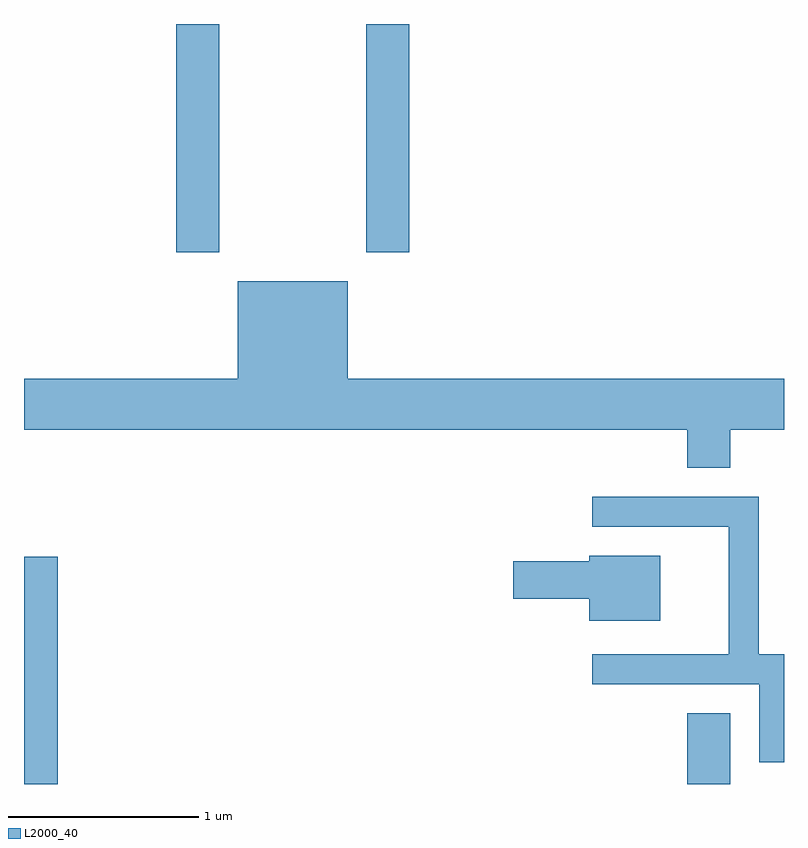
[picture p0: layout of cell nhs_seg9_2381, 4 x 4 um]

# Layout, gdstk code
import gdstk
lib = gdstk.Library(unit=1e-6, precision=1e-09)
def R(c, l, rs):  # rectangles x0, y0, x1, y1
    for r in rs: c.add(gdstk.rectangle(r[:2], r[2:], *l))
def P(c, l, *ps):  # polygons
    for p in ps: c.add(gdstk.Polygon(p, *l))
L2000_40 = (2000, 40)

nhs_seg9_2381 = lib.new_cell('nhs_seg9_2381')
R(nhs_seg9_2381, L2000_40, [(255.611,1954.432,255.789,1955.629), (259.101,1954.432,259.329,1954.804), (256.411,1957.231,256.639,1958.432), (257.411,1957.231,257.639,1958.432)])
P(nhs_seg9_2381, L2000_40, [(259.329,1956.296),(259.611,1956.296),(259.611,1956.564),(257.314,1956.564),(257.314,1957.079),(256.736,1957.079),(256.736,1956.564),(255.611,1956.564),(255.611,1956.296),(259.101,1956.296),(259.101,1956.096),(259.329,1956.096)],
  [(259.611,1955.114),(259.479,1955.114),(259.479,1955.944),(258.603,1955.944),(258.603,1955.786),(259.321,1955.786),(259.321,1955.114),(258.603,1955.114),(258.603,1954.956),(259.481,1954.956),(259.481,1954.546),(259.611,1954.546)],
  [(258.959,1955.634),(258.586,1955.634),(258.586,1955.604),(258.186,1955.604),(258.186,1955.406),(258.586,1955.406),(258.586,1955.291),(258.959,1955.291)])

lib.write_gds('nhs_seg9_2381.gds')
